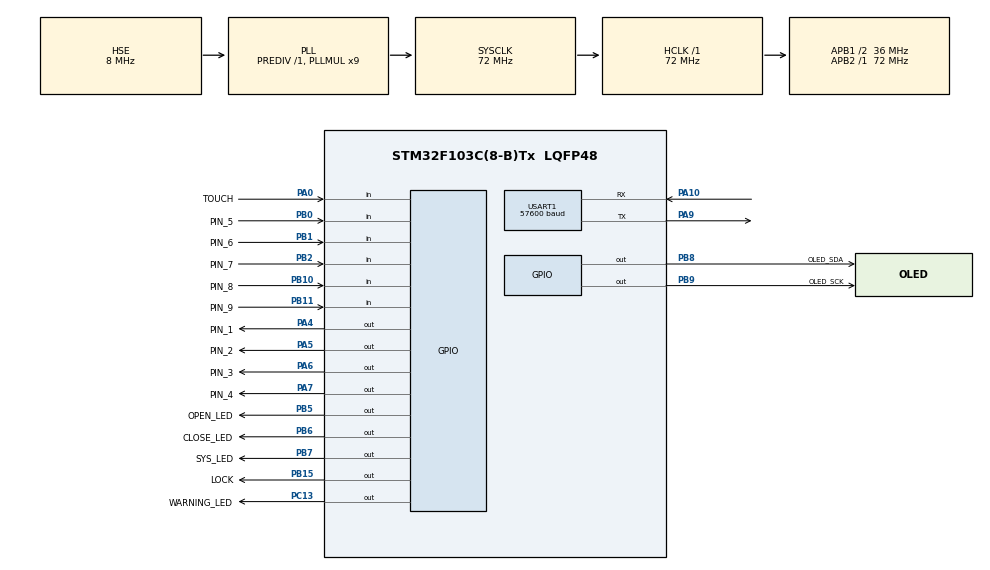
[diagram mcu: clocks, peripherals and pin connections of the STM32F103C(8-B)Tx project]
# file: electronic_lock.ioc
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Mcu.Family=STM32F1
Mcu.Name=STM32F103C(8-B)Tx
Mcu.Package=LQFP48
NVIC.PriorityGroup=NVIC_PRIORITYGROUP_4
NVIC.USART1_IRQn=true\:0\:0\:false\:false\:true\:true\:true\:true
PA0-WKUP.GPIO_Label=TOUCH
PA0-WKUP.GPIO_PuPd=GPIO_PULLDOWN
PA0-WKUP.Signal=GPIO_Input
PA10.Mode=Asynchronous
PA10.Signal=USART1_RX
PA13.Mode=Serial_Wire
PA13.Signal=SYS_JTMS-SWDIO
PA14.Mode=Serial_Wire
PA14.Signal=SYS_JTCK-SWCLK
PA4.GPIO_Label=PIN_1
PA4.GPIO_PuPd=GPIO_NOPULL
PA4.PinState=GPIO_PIN_SET
PA4.Signal=GPIO_Output
PA5.GPIO_Label=PIN_2
PA5.GPIO_PuPd=GPIO_NOPULL
PA5.PinState=GPIO_PIN_SET
PA5.Signal=GPIO_Output
PA6.GPIO_Label=PIN_3
PA6.GPIO_PuPd=GPIO_NOPULL
PA6.PinState=GPIO_PIN_SET
PA6.Signal=GPIO_Output
PA7.GPIO_Label=PIN_4
PA7.GPIO_PuPd=GPIO_NOPULL
PA7.PinState=GPIO_PIN_SET
PA7.Signal=GPIO_Output
PA9.Mode=Asynchronous
PA9.Signal=USART1_TX
PB0.GPIO_Label=PIN_5
PB0.GPIO_PuPd=GPIO_PULLDOWN
PB0.Signal=GPIO_Input
PB1.GPIO_Label=PIN_6
PB1.GPIO_PuPd=GPIO_PULLDOWN
PB1.Signal=GPIO_Input
PB10.GPIO_Label=PIN_8
PB10.GPIO_PuPd=GPIO_PULLDOWN
PB10.Signal=GPIO_Input
PB11.GPIO_Label=PIN_9
PB11.GPIO_PuPd=GPIO_PULLDOWN
PB11.Signal=GPIO_Input
PB15.GPIO_Label=LOCK
PB15.Signal=GPIO_Output
PB2.GPIO_Label=PIN_7
PB2.GPIO_PuPd=GPIO_PULLDOWN
PB2.Signal=GPIO_Input
PB5.GPIO_Label=OPEN_LED
PB5.GPIO_PuPd=GPIO_NOPULL
PB5.PinState=GPIO_PIN_RESET
PB5.Signal=GPIO_Output
PB6.GPIO_Label=CLOSE_LED
PB6.GPIO_PuPd=GPIO_NOPULL
PB6.PinState=GPIO_PIN_RESET
PB6.Signal=GPIO_Output
PB7.GPIO_Label=SYS_LED
PB7.GPIO_PuPd=GPIO_NOPULL
PB7.PinState=GPIO_PIN_RESET
PB7.Signal=GPIO_Output
PB8.GPIO_Label=OLED_SDA
PB8.GPIO_ModeDefaultOutputPP=GPIO_MODE_OUTPUT_OD
PB8.GPIO_PuPd=GPIO_PULLUP
PB8.Signal=GPIO_Output
PB9.GPIO_Label=OLED_SCK
PB9.GPIO_ModeDefaultOutputPP=GPIO_MODE_OUTPUT_OD
PB9.GPIO_PuPd=GPIO_PULLUP
PB9.Signal=GPIO_Output
PC13-TAMPER-RTC.GPIO_Label=WARNING_LED
PC13-TAMPER-RTC.Signal=GPIO_Output
PD0-OSC_IN.Mode=HSE-External-Oscillator
PD0-OSC_IN.Signal=RCC_OSC_IN
PD1-OSC_OUT.Mode=HSE-External-Oscillator
PD1-OSC_OUT.Signal=RCC_OSC_OUT
ProjectManager.HeapSize=0x200
ProjectManager.StackSize=0x400
ProjectManager.TargetToolchain=Makefile
RCC.AHBFreq_Value=72000000
RCC.APB1CLKDivider=RCC_HCLK_DIV2
RCC.APB1Freq_Value=36000000
RCC.APB1TimFreq_Value=72000000
RCC.APB2Freq_Value=72000000
RCC.APB2TimFreq_Value=72000000
RCC.HCLKFreq_Value=72000000
RCC.PLLMUL=RCC_PLL_MUL9
RCC.PLLSourceVirtual=RCC_PLLSOURCE_HSE
RCC.SYSCLKFreq_VALUE=72000000
RCC.SYSCLKSource=RCC_SYSCLKSOURCE_PLLCLK
RCC.USBFreq_Value=72000000
USART1.BaudRate=57600
USART1.VirtualMode=VM_ASYNC
board=custom

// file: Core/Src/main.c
/* USER CODE BEGIN Header */
/**
  ******************************************************************************
  * @file           : main.c
  * @brief          : Main program body
  ******************************************************************************
  * @attention
  *
  * Copyright (c) 2026 STMicroelectronics.
  * All rights reserved.
  *
  * This software is licensed under terms that can be found in the LICENSE file
  * in the root directory of this software component.
  * If no LICENSE file comes with this software, it is provided AS-IS.
  *
  ******************************************************************************
  */
/* USER CODE END Header */
#include "main.h"
#include "usart.h"
#include "gpio.h"

/* USER CODE BEGIN Includes */
#include "keyboard20.h"
#include <stdint.h>
#include <stdio.h>
#include "software_i2c.h"
#include "ssd1306/oled.h"
#include "lock_sys.h"
#include <string.h>
#include "at24c02.h"
#include "fingerprint.h"

/* USER CODE END Includes */

/* USER CODE BEGIN PTD */

// ==================== 状态定义 ====================
#define STATE_IDLE               0  // 空闲
#define STATE_LOCKED             1  // 锁定
#define STATE_OPEN               2  // 开门

#define STATE_CHANGE_OLD         3  // 改密码-输入旧密码
#define STATE_CHANGE_NEW1        4  // 改密码-输入新密码1
#define STATE_CHANGE_NEW2        5  // 改密码-输入新密码2

#define STATE_FINGER_AUTH        6  // 指纹管理前验证管理员
#define STATE_FINGER_MENU        7  // 指纹菜单
#define STATE_FINGER_ADD         8  // 添加指纹
#define STATE_FINGER_DEL         9  // 删除指纹
#define STATE_FINGER_DEL_ALL     10  // 清空所有指纹
#define STATE_FINGER_LIST       11  // 查看指纹列表

// ==================== 常量定义 ====================
#define LOCKED_TIME   10  // 锁定时间(秒)
#define LOCKED_COUNT   5  // 最大错误次数
#define OPEN_TIME      3  // 开门时间(秒)
#define SCREEN_TIMEOUT 15 // 屏幕超时(秒)

/* USER CODE END PTD */

/* USER CODE BEGIN PV */
char password[7] = "1234#*";      // 正确密码
char new_password[7] = {0};       // 新密码临时存储
char input_buffer[7] = {0};       // 输入缓冲区
char state_buffer[16] = {0};      // 状态栏
char message_buffer[16] = "Ready Input:";  // 提示信息

int my_index = 0;                 // 当前输入位数
uint8_t error_count = 0;           // 错误次数

uint32_t g_last_key_time = 0;      // 上次按键时间
uint8_t g_screen_off = 0;          // 屏幕是否关闭

uint8_t g_state = STATE_FINGER_ADD;      // 当前状态

uint32_t g_lock_start = 0;          // 锁定开始时间
uint32_t g_open_start = 0;          // 开门开始时间

// 标志位
uint8_t g_open_done = 0;            // 是否已执行开门动作
uint8_t g_enroll_step = 0;          // 指纹录入步骤
uint8_t X_Enable = 1;                // 调试用

/* USER CODE END PV */

void SystemClock_Config(void);
/* USER CODE BEGIN PFP */
void OpenDoor(void);
void CloseDoor(void);
void UpdateDisplay(void);
/* USER CODE END PFP */

/* USER CODE BEGIN 0 */
// ==================== 硬件控制函数 ====================
void OpenDoor(void) {
    HAL_GPIO_WritePin(LOCK_GPIO_Port, LOCK_Pin, GPIO_PIN_SET);
    HAL_GPIO_WritePin(OPEN_LED_GPIO_Port, OPEN_LED_Pin, GPIO_PIN_RESET);
    HAL_GPIO_WritePin(CLOSE_LED_GPIO_Port, CLOSE_LED_Pin, GPIO_PIN_SET);
}

void CloseDoor(void) {
    HAL_GPIO_WritePin(LOCK_GPIO_Port, LOCK_Pin, GPIO_PIN_RESET);
    HAL_GPIO_WritePin(OPEN_LED_GPIO_Port, OPEN_LED_Pin, GPIO_PIN_SET);
    HAL_GPIO_WritePin(CLOSE_LED_GPIO_Port, CLOSE_LED_Pin, GPIO_PIN_RESET);
}

// ==================== 显示更新函数 ====================
void UpdateDisplay(void) {
    if(g_screen_off) return;

    char display[7] = "______";
    for(int i=0; i<my_index; i++) {
        if(i == my_index-1) display[i] = input_buffer[i];
        else display[i] = '*';
    }

    sprintf(state_buffer, "Mode:%d", g_state);

    OLED_NewFrame();
    OLED_PrintString(0, 0, state_buffer, &font16x16, OLED_COLOR_NORMAL);
    OLED_PrintString(0, 16, message_buffer, &font16x16, OLED_COLOR_NORMAL);

    if(g_state == STATE_IDLE || g_state == STATE_CHANGE_OLD ||
       g_state == STATE_CHANGE_NEW1 || g_state == STATE_CHANGE_NEW2) {
        OLED_PrintString(0, 32, display, &font16x16, OLED_COLOR_NORMAL);
    }
    OLED_ShowFrame();
}
/* USER CODE END 0 */

int main(void)
{

  /* MCU Configuration--------------------------------------------------------*/

  /* Reset of all peripherals, Initializes the Flash interface and the Systick. */
  HAL_Init();

  /* Configure the system clock */
  SystemClock_Config();

  /* Initialize all configured peripherals */
  MX_GPIO_Init();
  MX_USART1_UART_Init();
  /* USER CODE BEGIN 2 */
  SOFTWARE_I2C_Init();
  OLED_Init();
  KEYBOARD20_Init();

  HAL_Delay(1000);

  // 从EEPROM读取密码
  uint8_t check[7] = {0};
  AT24C02_ReadData(0x00, check, 7);
  if(check[0] == 0x00) {
      AT24C02_WritePage(0x00, (uint8_t*)password, 7);
  } else {
      memcpy(password, check, 7);
  }

  // 开机显示
  sprintf(message_buffer, "Ready Input:");
  UpdateDisplay();

  /* USER CODE END 2 */

  /* Infinite loop */
  /* USER CODE BEGIN WHILE */
  while (1)
  {
     // ==================== 状态机处理 ====================
        switch(g_state) {
            case STATE_LOCKED: {
                uint32_t elapsed = (HAL_GetTick() - g_lock_start) / 1000;
                if(elapsed >= LOCKED_TIME) {
                    g_state = STATE_IDLE;
                    error_count = 0;
                    sprintf(message_buffer, "Ready Input:");
                } else {
                    sprintf(message_buffer, "Lock %lds", LOCKED_TIME - elapsed);
                }
                UpdateDisplay();
                break;
            }

            case STATE_OPEN: {
                if(!g_open_done) {
                    OpenDoor();
                    g_open_start = HAL_GetTick();
                    g_open_done = 1;
                }

                uint32_t elapsed = (HAL_GetTick() - g_open_start) / 1000;
                sprintf(message_buffer, "Open %lds", OPEN_TIME - elapsed);
                UpdateDisplay();

                if(elapsed >= OPEN_TIME) {
                    CloseDoor();
                    memset(input_buffer, 0, 7);
                    my_index = 0;
                    g_state = STATE_IDLE;
                    g_open_done = 0;
                    sprintf(message_buffer, "Ready Input:");
                }
                break;
            }

            case STATE_FINGER_MENU: {
                static uint8_t first = 1;
                if(first) {
                    strcpy(message_buffer, "1:Add 2:Del");
                    first = 0;
                }
                UpdateDisplay();
                break;
            }

            case STATE_FINGER_ADD: {
                sprintf(message_buffer, "Put finger %d/2", g_enroll_step + 1);
                UpdateDisplay();
                break;
            }

            case STATE_FINGER_DEL: {
                char display[7] = "______";
                for(int i=0; i<my_index; i++) display[i] = input_buffer[i];
                OLED_NewFrame();
                OLED_PrintString(0, 0, "Del Finger ID", &font16x16, OLED_COLOR_NORMAL);
                OLED_PrintString(0, 16, display, &font16x16, OLED_COLOR_NORMAL);
                OLED_PrintString(0, 32, "0-9 to input", &font16x16, OLED_COLOR_NORMAL);
                OLED_ShowFrame();
                break;
            }

            case STATE_FINGER_DEL_ALL: {
                OLED_NewFrame();
                OLED_PrintString(0, 0, "Delete ALL?", &font16x16, OLED_COLOR_NORMAL);
                OLED_PrintString(0, 16, "ENT=Yes ESC=No", &font16x16, OLED_COLOR_NORMAL);
                OLED_ShowFrame();
                break;
            }

            case STATE_FINGER_AUTH: {
                char display[7] = "______";
                for(int i=0; i<my_index; i++) {
                    if(i == my_index-1) display[i] = input_buffer[i];
                    else display[i] = '*';
                }

                OLED_NewFrame();
                OLED_PrintString(0, 0, "Admin Auth", &font16x16, OLED_COLOR_NORMAL);
                OLED_PrintString(0, 16, "Input PWD:", &font16x16, OLED_COLOR_NORMAL);
                OLED_PrintString(0, 32, display, &font16x16, OLED_COLOR_NORMAL);
                OLED_PrintString(0, 48, "OR put finger", &font16x16, OLED_COLOR_NORMAL);
                OLED_ShowFrame();
                break;
            }

            default:
                UpdateDisplay();
                break;
        }

        // ==================== 按键/指纹扫描 ====================
        Key key = KEYBOARD20_Scan();
        uint8_t touch = HAL_GPIO_ReadPin(TOUCH_GPIO_Port, TOUCH_Pin);

        if(key != KEY_NULL || touch) {
            g_last_key_time = HAL_GetTick();
            g_screen_off = 0;

            // ======== 指纹处理 ========
            if(key == KEY_NULL && touch) {

                switch(g_state) {
                    case STATE_IDLE: {
                        uint8_t rsp = Fingerprint_Identify();
                        if(rsp == FINGERPRINT_OK) {
                            sprintf(message_buffer, "Welcome!");
                            g_state = STATE_OPEN;
                        } else {
                            sprintf(message_buffer, "Try Again");
                        }
                        break;
                    }
                    case STATE_FINGER_AUTH: {
                        uint8_t rsp = Fingerprint_Identify();
                        if(rsp == FINGERPRINT_OK) {
                            // 指纹验证成功，进入指纹菜单
                            g_state = STATE_FINGER_MENU;
                            sprintf(message_buffer, "1:Add 2:Del");
                        } else {
                            sprintf(message_buffer, "Auth Fail");
                            g_state = STATE_IDLE;
                        }
                        break;
                    }
                    case STATE_FINGER_ADD: {
                        uint8_t rsp = Fingerprint_Enroll(1);  // 用ID=1
                        g_enroll_step++;
                        if(g_enroll_step >= 3) {
                          sprintf(message_buffer, "Failed");
                            g_state = STATE_IDLE;
                            g_enroll_step = 0;

                        }else if(rsp == FINGERPRINT_OK) {
                            sprintf(message_buffer, "Add OK!");
                            g_state = STATE_IDLE;
                            g_enroll_step = 0;
                        }
                        break;
                    }
                }
            }

            // ======== 按键处理 ========
            else {
                switch(key) {
                    // ===== 数字键 =====
                    case KEY_0: case KEY_1: case KEY_2: case KEY_3: case KEY_4:
                    case KEY_5: case KEY_6: case KEY_7: case KEY_8: case KEY_9:
                    case KEY_J: case KEY_X:
                        if(g_state == STATE_FINGER_MENU) {
                            switch(key) {
                                case KEY_1: g_state = STATE_FINGER_ADD; g_enroll_step = 0; break;
                                case KEY_2: g_state = STATE_FINGER_DEL; memset(input_buffer,0,7); my_index=0; break;
                                case KEY_3: g_state = STATE_FINGER_DEL_ALL; break;
                            }
                        }
                        else if(g_state == STATE_FINGER_DEL) {
                            if(my_index < 2) {
                                input_buffer[my_index] = KEYBOARD20_GetKeyValue(key);
                                my_index++;
                            }
                        }
                        else {
                            if(my_index < 6) {
                                input_buffer[my_index] = KEYBOARD20_GetKeyValue(key);
                                my_index++;
                            }
                        }
                        break;

                    // ===== 删除键 =====
                    case KEY_LEFT:
                        if(my_index > 0) {
                            my_index--;
                            input_buffer[my_index] = 0;
                        }
                        break;

                    // ===== 清空键 =====
                    case KEY_ESC:
                        if(g_state >= STATE_FINGER_MENU) {
                            g_state = STATE_IDLE;
                            memset(input_buffer, 0, 7);
                            my_index = 0;
                            sprintf(message_buffer, "Ready Input:");
                        } else if(g_state == STATE_IDLE) {
                            memset(input_buffer, 0, 7);
                            my_index = 0;
                        } else if(g_state == STATE_CHANGE_NEW1 ||
                                  g_state == STATE_CHANGE_NEW2 ||
                                  g_state == STATE_CHANGE_OLD) {
                            g_state = STATE_IDLE;
                            memset(input_buffer, 0, 7);
                            my_index = 0;
                        }else if(g_state == STATE_FINGER_AUTH) {
                            g_state = STATE_IDLE;
                            memset(input_buffer, 0, 7);
                            my_index = 0;
                            sprintf(message_buffer, "Ready Input:");
                        }
                        break;

                    // ===== 确认键 =====
                    case KEY_ENT:
                        AT24C02_ReadData(0x00, password, 7);

                        if(g_state == STATE_IDLE) {
                            if(strcmp(password, input_buffer) == 0) {
                                error_count = 0;
                                g_state = STATE_OPEN;
                            } else {
                                error_count++;
                                if(error_count >= LOCKED_COUNT) {
                                    g_state = STATE_LOCKED;
                                    g_lock_start = HAL_GetTick();
                                } else {
                                    sprintf(message_buffer, "Error %d/%d", error_count, LOCKED_COUNT);
                                    memset(input_buffer, 0, 7);
                                    my_index = 0;
                                }
                            }
                        }
                        else if(g_state == STATE_CHANGE_OLD) {
                            if(strcmp(password, input_buffer) == 0) {
                                g_state = STATE_CHANGE_NEW1;
                                memset(input_buffer, 0, 7);
                                my_index = 0;
                                sprintf(message_buffer, "New PWD:");
                            } else {
                                g_state = STATE_IDLE;
                                memset(input_buffer, 0, 7);
                                my_index = 0;
                                sprintf(message_buffer, "Ready Input:");
                            }
                        }
                        else if(g_state == STATE_CHANGE_NEW1) {
                            if(my_index == 6) {
                                strcpy(new_password, input_buffer);
                                g_state = STATE_CHANGE_NEW2;
                                memset(input_buffer, 0, 7);
                                my_index = 0;
                                sprintf(message_buffer, "Confirm:");
                            }
                        }
                        else if(g_state == STATE_CHANGE_NEW2) {
                            if(strcmp(new_password, input_buffer) == 0) {
                                AT24C02_WritePage(0x00, input_buffer, 7);
                                sprintf(message_buffer, "Change OK");
                            } else {
                                sprintf(message_buffer, "Not Match");
                            }
                            g_state = STATE_IDLE;
                            memset(input_buffer, 0, 7);
                            my_index = 0;
                            HAL_Delay(1000);
                            sprintf(message_buffer, "Ready Input:");
                        }
                        else if(g_state == STATE_FINGER_DEL) {
                            uint8_t id = 0;
                            for(uint8_t i=0; i<my_index; i++) {
                                id = id*10 + (input_buffer[i] - '0');
                            }
                            uint8_t rsp = Fingerprint_Delete(id);
                            if(rsp == FINGERPRINT_OK) {
                                sprintf(message_buffer, "Del OK");
                            } else {
                                sprintf(message_buffer, "Del Failed");
                            }
                            g_state = STATE_IDLE;
                            memset(input_buffer, 0, 7);
                            my_index = 0;
                        }
                        else if(g_state == STATE_FINGER_DEL_ALL) {
                            Fingerprint_Empty();
                            sprintf(message_buffer, "All Deleted");
                            g_state = STATE_IDLE;
                            memset(input_buffer, 0, 7);
                            my_index = 0;
                        }
                        else if(g_state == STATE_FINGER_AUTH) {
                            if(strcmp(password, input_buffer) == 0) {
                                // 密码验证成功，进入指纹菜单
                                g_state = STATE_FINGER_MENU;
                                memset(input_buffer, 0, 7);
                                my_index = 0;
                                sprintf(message_buffer, "1:Add 2:Del");
                            } else {
                                // 密码错误
                                sprintf(message_buffer, "Auth Fail");
                                g_state = STATE_IDLE;
                                memset(input_buffer, 0, 7);
                                my_index = 0;
                                HAL_Delay(1000);
                                sprintf(message_buffer, "Ready Input:");
                            }
                        }
                        break;

                    // ===== 功能键 =====
                    case KEY_F1:
                        g_state = STATE_CHANGE_OLD;
                        memset(input_buffer, 0, 7);
                        my_index = 0;
                        sprintf(message_buffer, "Old PWD:");
                        break;

                    case KEY_F2:{
                        g_state = STATE_FINGER_AUTH;  // 先进入验证模式
                        memset(input_buffer, 0, 7);
                        my_index = 0;
                        sprintf(message_buffer, "Admin Auth:");
                        break;
                        }
                    break;

                }
            }
        }

        // ==================== 空闲超时 ====================
        if(!g_screen_off && (HAL_GetTick() - g_last_key_time > SCREEN_TIMEOUT * 1000)) {
            memset(input_buffer, 0, 7);
            my_index = 0;
            OLED_NewFrame();
            OLED_ShowFrame();
            g_screen_off = 1;
        }

    /* USER CODE END WHILE */

  }
}

void SystemClock_Config(void)
{
  RCC_OscInitTypeDef RCC_OscInitStruct = {0};
  RCC_ClkInitTypeDef RCC_ClkInitStruct = {0};

  /** Initializes the RCC Oscillators according to the specified parameters
  * in the RCC_OscInitTypeDef structure.
  */
  RCC_OscInitStruct.OscillatorType = RCC_OSCILLATORTYPE_HSE;
  RCC_OscInitStruct.HSEState = RCC_HSE_ON;
  RCC_OscInitStruct.HSEPredivValue = RCC_HSE_PREDIV_DIV1;
  RCC_OscInitStruct.HSIState = RCC_HSI_ON;
  RCC_OscInitStruct.PLL.PLLState = RCC_PLL_ON;
  RCC_OscInitStruct.PLL.PLLSource = RCC_PLLSOURCE_HSE;
  RCC_OscInitStruct.PLL.PLLMUL = RCC_PLL_MUL9;
  if (HAL_RCC_OscConfig(&RCC_OscInitStruct) != HAL_OK)
  {
    Error_Handler();
  }

  /** Initializes the CPU, AHB and APB buses clocks
  */
  RCC_ClkInitStruct.ClockType = RCC_CLOCKTYPE_HCLK|RCC_CLOCKTYPE_SYSCLK
                              |RCC_CLOCKTYPE_PCLK1|RCC_CLOCKTYPE_PCLK2;
  RCC_ClkInitStruct.SYSCLKSource = RCC_SYSCLKSOURCE_PLLCLK;
  RCC_ClkInitStruct.AHBCLKDivider = RCC_SYSCLK_DIV1;
  RCC_ClkInitStruct.APB1CLKDivider = RCC_HCLK_DIV2;
  RCC_ClkInitStruct.APB2CLKDivider = RCC_HCLK_DIV1;

  if (HAL_RCC_ClockConfig(&RCC_ClkInitStruct, FLASH_LATENCY_2) != HAL_OK)
  {
    Error_Handler();
  }
}

void Error_Handler(void)
{
  __disable_irq();
  while (1)
  {
  }
}
